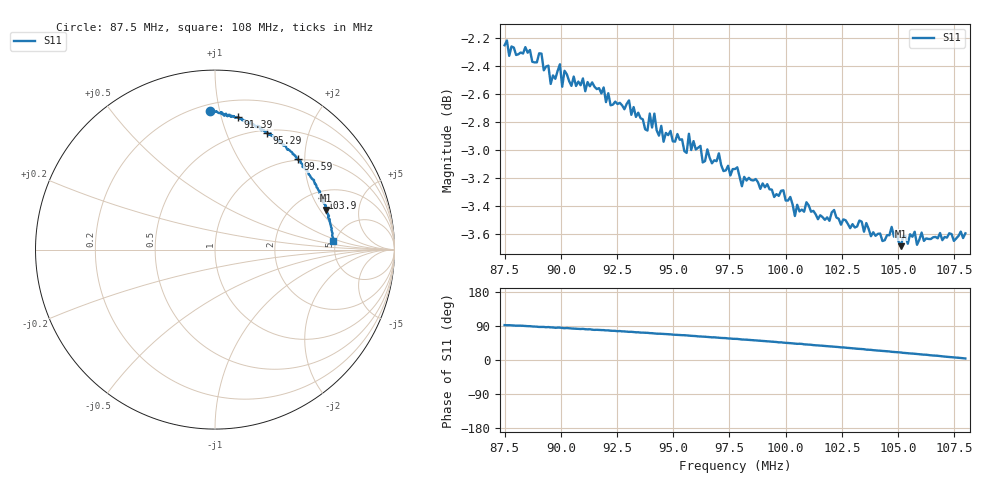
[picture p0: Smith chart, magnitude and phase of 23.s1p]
!Agilent Technologies,N5225A,MY51441201,A.09.90.19
!Agilent N5225A: A.09.90.19
!Date: Wednesday, April 25, 2018 14:53:39
!Correction: S11(Full 1 Port(1))
!S1P File: Measurement: S11:
# Hz S  dB  R 50
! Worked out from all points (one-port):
!   201 points, 87.5 MHz to 108 MHz, reference 50 ohm
!   lowest |S11| = -3.7 dB at 105.1 MHz (marker M1), VSWR 4.79, Z = 145 + j113 ohm
!   |S11| at or under -10 dB: nowhere
!   S11 on the Smith chart (normalised r, x): 87.5 MHz: 0.24, +0.93; 91.39 MHz: 0.34, +1.13; 95.29 MHz: 0.53, +1.41; 99.59 MHz: 0.98, +1.85; 103.9 MHz: 2.27, +2.34; 108 MHz: 4.77, +0.78
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8.75e7  -2.25 92.1
8.914e7  -2.31 87.3
8.955e7  -2.53 86.0
8.9755e7  -2.49 85.0
8.996e7  -2.39 85.4
9.00625e7  -2.55 84.7
9.0165e7  -2.43 83.8
9.02675e7  -2.46 84.4
9.08825e7  -2.54 81.8
9.12925e7  -2.54 81.1
9.1395e7  -2.52 80.0
9.25225e7  -2.67 76.0
9.2625e7  -2.66 76.4
9.3035e7  -2.64 74.3
9.31375e7  -2.75 74.4
9.51875e7  -2.88 66.4
9.529e7  -2.93 65.9
9.55975e7  -3.02 64.8
9.57e7  -2.88 64.4
9.775e7  -3.13 55.8
9.9595e7  -3.31 47.5
1.003125e8  -3.39 43.8
1.02875e8  -3.56 31.5
1.039e8  -3.58 25.9
1.0472e8  -3.55 21.6
1.0513e8  -3.68 19.8
1.054375e8  -3.67 17.9
1.08e8  -3.59 4.0
